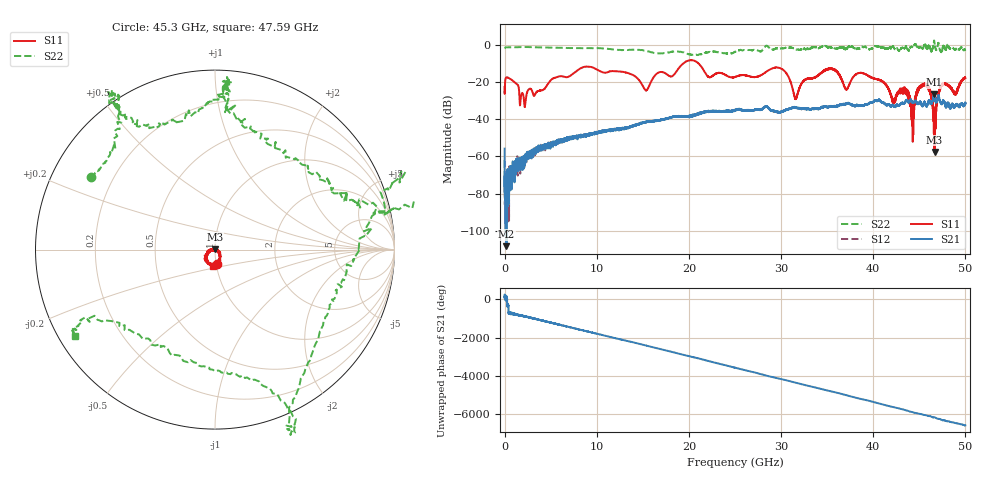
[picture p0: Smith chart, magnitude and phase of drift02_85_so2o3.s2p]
!Created with skrf (http://scikit-rf.org).
# Hz S RI R 50.0
!freq ReS11 ImS11 ReS21 ImS21 ReS12 ImS12 ReS22 ImS22
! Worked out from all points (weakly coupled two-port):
!   10001 points, 300 kHz to 50 GHz, reference 50 ohm
!   highest |S21| = -26.67 dB at 46.61 GHz (marker M1); lowest = -108.2 dB at 205.3 MHz (marker M2)
!   lowest |S11| = -57.6 dB at 46.65 GHz (marker M3), VSWR 1.00, Z = 50 + j0.128 ohm
!   |S11| at or under -10 dB: start of sweep to 19.43 GHz; 21.00423 GHz to 21.00741 GHz (3.18 MHz wide, 0.0151 % of centre); 21.01 GHz to end of sweep
!   |S22| runs from -5.7 to 2.2 dB; largest |S21 - S12| = 0.0041
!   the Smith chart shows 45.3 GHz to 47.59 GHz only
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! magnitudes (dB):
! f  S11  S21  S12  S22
! 300 kHz  -22.7  -55.9  -62.2  -2.1
! 205.3 MHz  -17.6  -108.2  -69.8  -1.4
! 2.185 GHz  -33.5  -63.6  -61.8  -1.3
! 8.335 GHz  -12.5  -49.1  -49.0  -1.9
! 15.34 GHz  -24.6  -41.8  -41.6  -3.3
! 16.67 GHz  -15.1  -40.8  -40.8  -4.7
! 20.31 GHz  -8.4  -37.8  -38.5  -5.5
! 25 GHz  -17.4  -35.5  -35.2  -3.9
! 29.83 GHz  -12.5  -36.5  -36.5  -2.0
! 31.59 GHz  -29.0  -33.8  -34.0  -2.4
! 33.34 GHz  -18.0  -34.4  -34.5  -1.6
! 35.61 GHz  -13.1  -33.2  -33.3  -1.6
! 37.1 GHz  -24.2  -31.7  -31.6  -2.3
! 38.76 GHz  -15.3  -32.8  -32.6  -1.0
! 41.67 GHz  -23.7  -32.2  -32.2  -2.0
! 43.56 GHz  -25.8  -30.3  -30.0  -1.2
! 44.25 GHz  -33.9  -31.0  -31.1  -1.4
! 45.75 GHz  -22.2  -33.2  -33.0  -1.5
! 46.61 GHz  -41.7  -26.7  -27.0  2.1
! 46.65 GHz  -57.6  -27.8  -28.1  0.8
! 47.47 GHz  -21.8  -31.6  -31.5  -3.4
! 50 GHz  -18.0  -31.3  -31.7  -2.7
